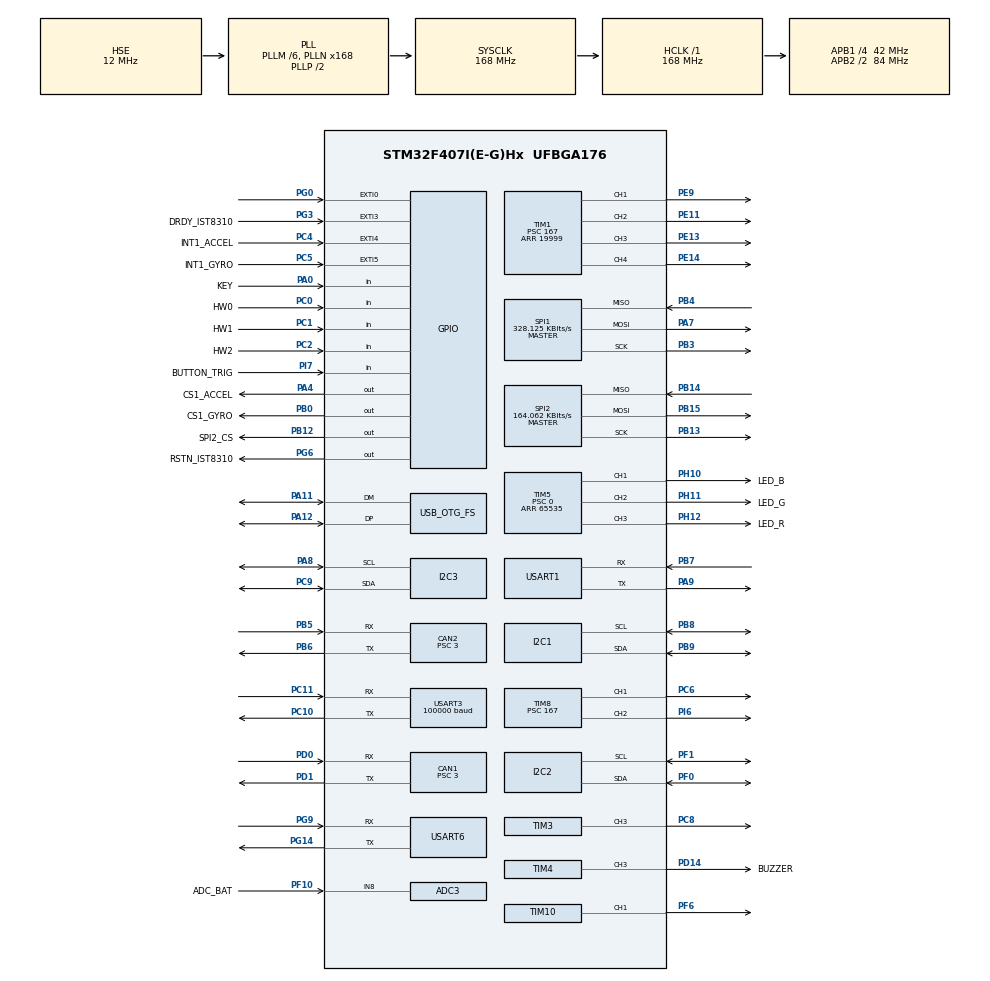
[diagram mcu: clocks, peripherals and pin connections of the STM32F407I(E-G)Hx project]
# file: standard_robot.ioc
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ADC1.Channel-0\#ChannelRegularConversion=ADC_CHANNEL_TEMPSENSOR
ADC1.ClockPrescaler=ADC_CLOCK_SYNC_PCLK_DIV6
ADC1.NbrOfConversionFlag=1
ADC1.Rank-0\#ChannelRegularConversion=1
ADC1.SamplingTime-0\#ChannelRegularConversion=ADC_SAMPLETIME_3CYCLES
ADC1.master=1
ADC3.Channel-0\#ChannelRegularConversion=ADC_CHANNEL_8
ADC3.ClockPrescaler=ADC_CLOCK_SYNC_PCLK_DIV6
ADC3.NbrOfConversionFlag=1
ADC3.Rank-0\#ChannelRegularConversion=1
ADC3.SamplingTime-0\#ChannelRegularConversion=ADC_SAMPLETIME_3CYCLES
CAN1.BS1=CAN_BS1_10TQ
CAN1.BS2=CAN_BS2_3TQ
CAN1.CalculateTimeQuantum=71.42857142857143
CAN1.Prescaler=3
CAN2.BS1=CAN_BS1_10TQ
CAN2.BS2=CAN_BS2_3TQ
CAN2.CalculateTimeQuantum=71.42857142857143
CAN2.Prescaler=3
Dma.I2C2_TX.2.Direction=DMA_MEMORY_TO_PERIPH
Dma.I2C2_TX.2.FIFOMode=DMA_FIFOMODE_DISABLE
Dma.I2C2_TX.2.Instance=DMA1_Stream7
Dma.I2C2_TX.2.MemDataAlignment=DMA_MDATAALIGN_BYTE
Dma.I2C2_TX.2.MemInc=DMA_MINC_ENABLE
Dma.I2C2_TX.2.Mode=DMA_NORMAL
Dma.I2C2_TX.2.PeriphDataAlignment=DMA_PDATAALIGN_BYTE
Dma.I2C2_TX.2.PeriphInc=DMA_PINC_DISABLE
Dma.I2C2_TX.2.Priority=DMA_PRIORITY_HIGH
Dma.Request0=SPI1_RX
Dma.Request1=SPI1_TX
Dma.Request2=I2C2_TX
Dma.Request3=USART3_RX
Dma.Request4=USART6_RX
Dma.Request5=USART6_TX
Dma.Request6=USART1_TX
Dma.SPI1_RX.0.Direction=DMA_PERIPH_TO_MEMORY
Dma.SPI1_RX.0.FIFOMode=DMA_FIFOMODE_DISABLE
Dma.SPI1_RX.0.Instance=DMA2_Stream2
Dma.SPI1_RX.0.MemDataAlignment=DMA_MDATAALIGN_BYTE
Dma.SPI1_RX.0.MemInc=DMA_MINC_ENABLE
Dma.SPI1_RX.0.Mode=DMA_NORMAL
Dma.SPI1_RX.0.PeriphDataAlignment=DMA_PDATAALIGN_BYTE
Dma.SPI1_RX.0.PeriphInc=DMA_PINC_DISABLE
Dma.SPI1_RX.0.Priority=DMA_PRIORITY_VERY_HIGH
Dma.SPI1_TX.1.Direction=DMA_MEMORY_TO_PERIPH
Dma.SPI1_TX.1.FIFOMode=DMA_FIFOMODE_DISABLE
Dma.SPI1_TX.1.Instance=DMA2_Stream3
Dma.SPI1_TX.1.MemDataAlignment=DMA_MDATAALIGN_BYTE
Dma.SPI1_TX.1.MemInc=DMA_MINC_ENABLE
Dma.SPI1_TX.1.Mode=DMA_NORMAL
Dma.SPI1_TX.1.PeriphDataAlignment=DMA_PDATAALIGN_BYTE
Dma.SPI1_TX.1.PeriphInc=DMA_PINC_DISABLE
Dma.SPI1_TX.1.Priority=DMA_PRIORITY_HIGH
Dma.USART1_TX.6.Direction=DMA_MEMORY_TO_PERIPH
Dma.USART1_TX.6.FIFOMode=DMA_FIFOMODE_DISABLE
Dma.USART1_TX.6.Instance=DMA2_Stream7
Dma.USART1_TX.6.MemDataAlignment=DMA_MDATAALIGN_BYTE
Dma.USART1_TX.6.MemInc=DMA_MINC_ENABLE
Dma.USART1_TX.6.Mode=DMA_NORMAL
Dma.USART1_TX.6.PeriphDataAlignment=DMA_PDATAALIGN_BYTE
Dma.USART1_TX.6.PeriphInc=DMA_PINC_DISABLE
Dma.USART1_TX.6.Priority=DMA_PRIORITY_MEDIUM
Dma.USART3_RX.3.Direction=DMA_PERIPH_TO_MEMORY
Dma.USART3_RX.3.FIFOMode=DMA_FIFOMODE_DISABLE
Dma.USART3_RX.3.Instance=DMA1_Stream1
Dma.USART3_RX.3.MemDataAlignment=DMA_MDATAALIGN_BYTE
Dma.USART3_RX.3.MemInc=DMA_MINC_ENABLE
Dma.USART3_RX.3.Mode=DMA_NORMAL
Dma.USART3_RX.3.PeriphDataAlignment=DMA_PDATAALIGN_BYTE
Dma.USART3_RX.3.PeriphInc=DMA_PINC_DISABLE
Dma.USART3_RX.3.Priority=DMA_PRIORITY_HIGH
Dma.USART6_RX.4.Direction=DMA_PERIPH_TO_MEMORY
Dma.USART6_RX.4.FIFOMode=DMA_FIFOMODE_DISABLE
Dma.USART6_RX.4.Instance=DMA2_Stream1
Dma.USART6_RX.4.MemDataAlignment=DMA_MDATAALIGN_BYTE
Dma.USART6_RX.4.MemInc=DMA_MINC_ENABLE
Dma.USART6_RX.4.Mode=DMA_NORMAL
Dma.USART6_RX.4.PeriphDataAlignment=DMA_PDATAALIGN_BYTE
Dma.USART6_RX.4.PeriphInc=DMA_PINC_DISABLE
Dma.USART6_RX.4.Priority=DMA_PRIORITY_HIGH
Dma.USART6_TX.5.Direction=DMA_MEMORY_TO_PERIPH
Dma.USART6_TX.5.FIFOMode=DMA_FIFOMODE_DISABLE
Dma.USART6_TX.5.Instance=DMA2_Stream6
Dma.USART6_TX.5.MemDataAlignment=DMA_MDATAALIGN_BYTE
Dma.USART6_TX.5.MemInc=DMA_MINC_ENABLE
Dma.USART6_TX.5.Mode=DMA_NORMAL
Dma.USART6_TX.5.PeriphDataAlignment=DMA_PDATAALIGN_BYTE
Dma.USART6_TX.5.PeriphInc=DMA_PINC_DISABLE
Dma.USART6_TX.5.Priority=DMA_PRIORITY_MEDIUM
FREERTOS.INCLUDE_eTaskGetState=1
FREERTOS.INCLUDE_pcTaskGetTaskName=1
FREERTOS.INCLUDE_uxTaskGetStackHighWaterMark=1
FREERTOS.INCLUDE_vTaskCleanUpResources=1
FREERTOS.INCLUDE_vTaskDelayUntil=1
FREERTOS.INCLUDE_xEventGroupSetBitFromISR=1
FREERTOS.INCLUDE_xQueueGetMutexHolder=1
FREERTOS.INCLUDE_xSemaphoreGetMutexHolder=1
FREERTOS.INCLUDE_xTaskAbortDelay=1
FREERTOS.INCLUDE_xTaskGetCurrentTaskHandle=1
FREERTOS.INCLUDE_xTaskGetHandle=1
FREERTOS.INCLUDE_xTimerPendFunctionCall=1
FREERTOS.Tasks01=test,24,128,test_task,As weak,NULL,Dynamic,NULL,NULL
FREERTOS.configTOTAL_HEAP_SIZE=24576
I2C1.I2C_Mode=I2C_Fast
I2C2.I2C_Mode=I2C_Fast
I2C3.I2C_Mode=I2C_Fast
Mcu.Family=STM32F4
Mcu.Name=STM32F407I(E-G)Hx
Mcu.Package=UFBGA176
NVIC.CAN1_RX0_IRQn=true\:6\:0\:true\:false\:true\:true\:true\:true\:true
NVIC.CAN2_RX0_IRQn=true\:6\:0\:true\:false\:true\:true\:true\:true\:true
NVIC.DMA1_Stream1_IRQn=true\:5\:0\:true\:false\:false\:true\:false\:false\:true
NVIC.DMA1_Stream7_IRQn=true\:5\:0\:true\:false\:false\:true\:false\:true\:true
NVIC.DMA2_Stream1_IRQn=true\:5\:0\:true\:false\:true\:true\:false\:true\:true
NVIC.DMA2_Stream2_IRQn=true\:5\:0\:true\:false\:false\:true\:false\:true\:true
NVIC.DMA2_Stream3_IRQn=true\:5\:0\:true\:false\:false\:true\:false\:true\:true
NVIC.DMA2_Stream6_IRQn=true\:5\:0\:true\:false\:true\:true\:false\:true\:true
NVIC.DMA2_Stream7_IRQn=true\:5\:0\:true\:false\:true\:true\:false\:true\:true
NVIC.EXTI0_IRQn=true\:6\:0\:true\:false\:true\:true\:true\:true\:true
NVIC.EXTI3_IRQn=true\:5\:0\:true\:false\:true\:true\:true\:true\:true
NVIC.EXTI4_IRQn=true\:5\:0\:true\:false\:true\:true\:true\:true\:true
NVIC.EXTI9_5_IRQn=true\:5\:0\:true\:false\:true\:true\:true\:true\:true
NVIC.OTG_FS_IRQn=true\:5\:0\:false\:false\:true\:true\:false\:true\:true
NVIC.PriorityGroup=NVIC_PRIORITYGROUP_4
NVIC.TIM2_IRQn=true\:5\:0\:false\:false\:true\:true\:true\:true\:true
NVIC.USART1_IRQn=true\:5\:0\:false\:false\:true\:true\:true\:true\:true
NVIC.USART3_IRQn=true\:4\:0\:true\:false\:false\:false\:true\:true\:true
NVIC.USART6_IRQn=true\:5\:0\:true\:false\:false\:true\:true\:true\:true
PA0-WKUP.GPIO_Label=KEY
PA0-WKUP.GPIO_PuPd=GPIO_PULLUP
PA0-WKUP.Signal=GPIO_Input
PA11.Mode=Device_Only
PA11.Signal=USB_OTG_FS_DM
PA12.Mode=Device_Only
PA12.Signal=USB_OTG_FS_DP
PA13.Mode=Serial_Wire
PA13.Signal=SYS_JTMS-SWDIO
PA14.Mode=Serial_Wire
PA14.Signal=SYS_JTCK-SWCLK
PA4.GPIO_Label=CS1_ACCEL
PA4.GPIO_PuPd=GPIO_PULLUP
PA4.GPIO_Speed=GPIO_SPEED_FREQ_HIGH
PA4.PinState=GPIO_PIN_SET
PA4.Signal=GPIO_Output
PA7.GPIO_PuPd=GPIO_PULLUP
PA7.Mode=Full_Duplex_Master
PA7.Signal=SPI1_MOSI
PA8.Mode=I2C
PA8.Signal=I2C3_SCL
PA9.Mode=Asynchronous
PA9.Signal=USART1_TX
PB0.GPIO_Label=CS1_GYRO
PB0.GPIO_PuPd=GPIO_PULLUP
PB0.GPIO_Speed=GPIO_SPEED_FREQ_HIGH
PB0.PinState=GPIO_PIN_SET
PB0.Signal=GPIO_Output
PB12.GPIO_Label=SPI2_CS
PB12.GPIO_PuPd=GPIO_PULLUP
PB12.GPIO_Speed=GPIO_SPEED_FREQ_MEDIUM
PB12.PinState=GPIO_PIN_SET
PB12.Signal=GPIO_Output
PB13.GPIO_PuPd=GPIO_PULLUP
PB13.Mode=Full_Duplex_Master
PB13.Signal=SPI2_SCK
PB14.GPIO_PuPd=GPIO_PULLUP
PB14.Mode=Full_Duplex_Master
PB14.Signal=SPI2_MISO
PB15.GPIO_PuPd=GPIO_PULLUP
PB15.Mode=Full_Duplex_Master
PB15.Signal=SPI2_MOSI
PB3.GPIO_PuPd=GPIO_PULLUP
PB3.Mode=Full_Duplex_Master
PB3.Signal=SPI1_SCK
PB4.GPIO_PuPd=GPIO_PULLUP
PB4.Mode=Full_Duplex_Master
PB4.Signal=SPI1_MISO
PB5.Mode=Slave
PB5.Signal=CAN2_RX
PB6.Mode=Slave
PB6.Signal=CAN2_TX
PB7.Mode=Asynchronous
PB7.Signal=USART1_RX
PB8.Mode=I2C
PB8.Signal=I2C1_SCL
PB9.Mode=I2C
PB9.Signal=I2C1_SDA
PC0.GPIO_Label=HW0
PC0.Signal=GPIO_Input
PC1.GPIO_Label=HW1
PC1.Signal=GPIO_Input
PC10.Mode=Asynchronous
PC10.Signal=USART3_TX
PC11.Mode=Asynchronous
PC11.Signal=USART3_RX
PC2.GPIO_Label=HW2
PC2.Signal=GPIO_Input
PC4.GPIO_Label=INT1_ACCEL
PC4.GPIO_ModeDefaultEXTI=GPIO_MODE_IT_FALLING
PC4.GPIO_PuPd=GPIO_PULLUP
PC4.Signal=GPXTI4
PC5.GPIO_Label=INT1_GYRO
PC5.GPIO_ModeDefaultEXTI=GPIO_MODE_IT_FALLING
PC5.GPIO_PuPd=GPIO_PULLUP
PC5.Signal=GPXTI5
PC6.GPIO_PuPd=GPIO_PULLUP
PC6.GPIO_Speed=GPIO_SPEED_FREQ_HIGH
PC6.Signal=S_TIM8_CH1
PC8.GPIO_PuPd=GPIO_PULLUP
PC8.GPIO_Speed=GPIO_SPEED_FREQ_HIGH
PC8.Signal=S_TIM3_CH3
PC9.Mode=I2C
PC9.Signal=I2C3_SDA
PD0.Mode=Master
PD0.Signal=CAN1_RX
PD1.Mode=Master
PD1.Signal=CAN1_TX
PD14.GPIO_Label=BUZZER
PD14.GPIO_PuPd=GPIO_PULLUP
PD14.GPIO_Speed=GPIO_SPEED_FREQ_VERY_HIGH
PD14.Signal=S_TIM4_CH3
PE11.GPIO_PuPd=GPIO_PULLUP
PE11.GPIO_Speed=GPIO_SPEED_FREQ_HIGH
PE11.Signal=S_TIM1_CH2
PE13.GPIO_PuPd=GPIO_PULLUP
PE13.GPIO_Speed=GPIO_SPEED_FREQ_HIGH
PE13.Signal=S_TIM1_CH3
PE14.GPIO_PuPd=GPIO_PULLUP
PE14.GPIO_Speed=GPIO_SPEED_FREQ_HIGH
PE14.Signal=S_TIM1_CH4
PE9.GPIO_PuPd=GPIO_PULLUP
PE9.GPIO_Speed=GPIO_SPEED_FREQ_HIGH
PE9.Signal=S_TIM1_CH1
PF0.Mode=I2C
PF0.Signal=I2C2_SDA
PF1.Mode=I2C
PF1.Signal=I2C2_SCL
PF10.GPIO_Label=ADC_BAT
PF10.Mode=IN8
PF10.Signal=ADC3_IN8
PF6.GPIO_PuPd=GPIO_PULLUP
PF6.GPIO_Speed=GPIO_SPEED_FREQ_HIGH
PF6.Signal=S_TIM10_CH1
PG0.GPIO_ModeDefaultEXTI=GPIO_MODE_IT_FALLING
PG0.GPIO_PuPd=GPIO_PULLUP
PG0.Signal=GPXTI0
PG14.Mode=Asynchronous
PG14.Signal=USART6_TX
PG3.GPIO_Label=DRDY_IST8310
PG3.GPIO_ModeDefaultEXTI=GPIO_MODE_IT_FALLING
PG3.GPIO_PuPd=GPIO_PULLUP
PG3.Signal=GPXTI3
PG6.GPIO_Label=RSTN_IST8310
PG6.GPIO_PuPd=GPIO_PULLUP
PG6.GPIO_Speed=GPIO_SPEED_FREQ_MEDIUM
PG6.PinState=GPIO_PIN_SET
PG6.Signal=GPIO_Output
PG9.Mode=Asynchronous
PG9.Signal=USART6_RX
PH0-OSC_IN.Mode=HSE-External-Oscillator
PH0-OSC_IN.Signal=RCC_OSC_IN
PH1-OSC_OUT.Mode=HSE-External-Oscillator
PH1-OSC_OUT.Signal=RCC_OSC_OUT
PH10.GPIO_Label=LED_B
PH10.GPIO_PuPd=GPIO_PULLUP
PH10.GPIO_Speed=GPIO_SPEED_FREQ_HIGH
PH10.Signal=S_TIM5_CH1
PH11.GPIO_Label=LED_G
PH11.GPIO_PuPd=GPIO_PULLUP
PH11.GPIO_Speed=GPIO_SPEED_FREQ_HIGH
PH11.Signal=S_TIM5_CH2
PH12.GPIO_Label=LED_R
PH12.GPIO_PuPd=GPIO_PULLUP
PH12.GPIO_Speed=GPIO_SPEED_FREQ_HIGH
PH12.Signal=S_TIM5_CH3
PI6.GPIO_PuPd=GPIO_PULLUP
PI6.GPIO_Speed=GPIO_SPEED_FREQ_HIGH
PI6.Signal=S_TIM8_CH2
PI7.GPIO_Label=BUTTON_TRIG
PI7.GPIO_PuPd=GPIO_PULLUP
PI7.Signal=GPIO_Input
ProjectManager.HeapSize=0x2000
ProjectManager.StackSize=0x2000
ProjectManager.TargetToolchain=MDK-ARM V5
RCC.48MHZClocksFreq_Value=48000000
RCC.AHBFreq_Value=168000000
RCC.APB1CLKDivider=RCC_HCLK_DIV4
RCC.APB1Freq_Value=42000000
RCC.APB1TimFreq_Value=84000000
RCC.APB2CLKDivider=RCC_HCLK_DIV2
RCC.APB2Freq_Value=84000000
RCC.APB2TimFreq_Value=168000000
RCC.CortexFreq_Value=168000000
RCC.HCLKFreq_Value=168000000
RCC.HSE_VALUE=12000000
RCC.HSI_VALUE=16000000
RCC.LSE_VALUE=32768
RCC.PLLM=6
RCC.PLLN=168
RCC.PLLQ=7
RCC.RCC_RTC_Clock_SourceVirtual=RCC_RTCCLKSOURCE_HSE_DIV30
RCC.RCC_RTC_Clock_Source_FROM_HSE=RCC_RTCCLKSOURCE_HSE_DIV30
RCC.SYSCLKFreq_VALUE=168000000
RCC.SYSCLKSource=RCC_SYSCLKSOURCE_PLLCLK
RCC.VCOOutputFreq_Value=336000000
RTC.AsynchPrediv=124
RTC.SynchPrediv=3199
SH.S_TIM10_CH1.0=TIM10_CH1,PWM Generation1 CH1
SH.S_TIM1_CH1.0=TIM1_CH1,PWM Generation1 CH1
SH.S_TIM1_CH2.0=TIM1_CH2,PWM Generation2 CH2
SH.S_TIM1_CH3.0=TIM1_CH3,PWM Generation3 CH3
SH.S_TIM1_CH4.0=TIM1_CH4,PWM Generation4 CH4
SH.S_TIM3_CH3.0=TIM3_CH3,PWM Generation3 CH3
SH.S_TIM4_CH3.0=TIM4_CH3,PWM Generation3 CH3
SH.S_TIM5_CH1.0=TIM5_CH1,PWM Generation1 CH1
SH.S_TIM5_CH2.0=TIM5_CH2,PWM Generation2 CH2
SH.S_TIM5_CH3.0=TIM5_CH3,PWM Generation3 CH3
SH.S_TIM8_CH1.0=TIM8_CH1,PWM Generation1 CH1
SH.S_TIM8_CH2.0=TIM8_CH2,PWM Generation2 CH2
SPI1.BaudRatePrescaler=SPI_BAUDRATEPRESCALER_256
SPI1.CLKPhase=SPI_PHASE_2EDGE
SPI1.CLKPolarity=SPI_POLARITY_HIGH
SPI1.CalculateBaudRate=328.125 KBits/s
SPI1.Direction=SPI_DIRECTION_2LINES
SPI1.Mode=SPI_MODE_MASTER
SPI1.VirtualType=VM_MASTER
SPI2.BaudRatePrescaler=SPI_BAUDRATEPRESCALER_256
SPI2.CLKPhase=SPI_PHASE_2EDGE
SPI2.CLKPolarity=SPI_POLARITY_HIGH
SPI2.CalculateBaudRate=164.062 KBits/s
SPI2.Direction=SPI_DIRECTION_2LINES
SPI2.Mode=SPI_MODE_MASTER
SPI2.VirtualType=VM_MASTER
TIM1.Channel-PWM\ Generation1\ CH1=TIM_CHANNEL_1
TIM1.Channel-PWM\ Generation2\ CH2=TIM_CHANNEL_2
TIM1.Channel-PWM\ Generation3\ CH3=TIM_CHANNEL_3
TIM1.Channel-PWM\ Generation4\ CH4=TIM_CHANNEL_4
TIM1.Period=19999
TIM1.Prescaler=167
TIM1.Pulse-PWM\ Generation1\ CH1=1000
TIM1.Pulse-PWM\ Generation2\ CH2=1000
TIM1.Pulse-PWM\ Generation3\ CH3=1000
TIM1.Pulse-PWM\ Generation4\ CH4=1000
TIM10.Channel=TIM_CHANNEL_1
TIM10.Period=4999
TIM2.Period=999
TIM2.Prescaler=167
TIM3.Channel-PWM\ Generation3\ CH3=TIM_CHANNEL_3
TIM3.Period=8399
TIM4.Channel-PWM\ Generation3\ CH3=TIM_CHANNEL_3
TIM4.Period=65535
TIM4.Prescaler=167
TIM5.Channel-PWM\ Generation1\ CH1=TIM_CHANNEL_1
TIM5.Channel-PWM\ Generation2\ CH2=TIM_CHANNEL_2
TIM5.Channel-PWM\ Generation3\ CH3=TIM_CHANNEL_3
TIM5.Period=65535
TIM5.Prescaler=0
TIM8.Channel-PWM\ Generation1\ CH1=TIM_CHANNEL_1
TIM8.Channel-PWM\ Generation2\ CH2=TIM_CHANNEL_2
TIM8.Period=19999
TIM8.Prescaler=167
TIM8.Pulse-PWM\ Generation1\ CH1=1000
TIM8.Pulse-PWM\ Generation2\ CH2=1000
USART1.VirtualMode=VM_ASYNC
USART3.BaudRate=100000
USART3.Parity=PARITY_EVEN
USART3.VirtualMode=VM_ASYNC
USART6.VirtualMode=VM_ASYNC
USB_DEVICE.CLASS_NAME_FS=CDC
USB_DEVICE.VirtualMode-CDC_FS=Cdc
USB_DEVICE.VirtualModeFS=Cdc_FS
USB_OTG_FS.VirtualMode=Device_Only
VP_ADC1_TempSens_Input.Mode=IN-TempSens
VP_ADC1_Vref_Input.Mode=IN-Vrefint
VP_CRC_VS_CRC.Mode=CRC_Activate
VP_FREERTOS_VS_CMSIS_V1.Mode=CMSIS_V1
VP_RNG_VS_RNG.Mode=RNG_Activate
VP_RTC_VS_RTC_Activate.Mode=RTC_Enabled
VP_TIM10_VS_ClockSourceINT.Mode=Enable_Timer
VP_TIM1_VS_ClockSourceINT.Mode=Internal
VP_TIM2_VS_ClockSourceINT.Mode=Internal
VP_TIM3_VS_ClockSourceINT.Mode=Internal
VP_TIM4_VS_ClockSourceINT.Mode=Internal
VP_TIM5_VS_ClockSourceINT.Mode=Internal
VP_TIM8_VS_ClockSourceINT.Mode=Internal
VP_USB_DEVICE_VS_USB_DEVICE_CDC_FS.Mode=CDC_FS
board=custom

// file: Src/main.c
/* USER CODE BEGIN Header */
/**
  ******************************************************************************
  * @file           : main.c
  * @brief          : Main program body
  ******************************************************************************
  * @attention
  *
  * <h2><center>&copy; Copyright (c) 2019 STMicroelectronics.
  * All rights reserved.</center></h2>
  *
  * This software component is licensed by ST under Ultimate Liberty license
  * SLA0044, the "License"; You may not use this file except in compliance with
  * the License. You may obtain a copy of the License at:
  *                             www.st.com/SLA0044
  *
  ******************************************************************************
  */
/* USER CODE END Header */

#include "main.h"
#include "cmsis_os.h"
#include "adc.h"
#include "can.h"
#include "crc.h"
#include "dma.h"
#include "i2c.h"
#include "rng.h"
#include "rtc.h"
#include "spi.h"
#include "tim.h"
#include "usart.h"
#include "usb_device.h"
#include "gpio.h"

/* USER CODE BEGIN Includes */

/*
                   _ooOoo_
                  o8888888o
                  88" . "88
                  (| -_- |)
                  O\  =  /O
               ____/`---'\____
             .'  \\|     |//  `.
            /  \\|||  :  |||//  \
           /  _||||| -:- |||||-  \
           |   | \\\  -  /// |   |
           | \_|  ''\---/''  |   |
           \  .-\__  `-`  ___/-. /
         ___`. .'  /--.--\  `. . __
      ."" '<  `.___\_<|>_/___.'  >'"".
     | | :  `- \`.;`\ _ /`;.`/ - ` : | |
     \  \ `-.   \_ __\ /__ _/   .-` /  /
======`-.____`-.___\_____/___.-`____.-'======
                   `=---='
^^^^^^^^^^^^^^^^^^^^^^^^^^^^^^^^^^^^^^^^^^^^^
            佛祖保佑       永无ERROR
*/

////////////////////////////////////////////////////////////////////
//                          _ooOoo_                               //
//                         o8888888o                              //
//                         88" . "88                              //
//                         (| -_- |)                              //
//                         O\  =  /O                              //
//                      ____/`---'\____                           //
//                    .'  \\|     |//  `.                         //
//                   /  \\|||  :  |||//  \                        //
//                  /  _||||| -:- |||||-  \                       //
//                  |   | \\\  -  /// |   |                       //
//                  | \_|  ''\---/''  |   |                       //
//                  \  .-\__  `-`  ___/-. /                       //
//                ___`. .'  /--.--\  `. . ___                     //
//              ."" '<  `.___\_<|>_/___.'  >'"".                  //
//            | | :  `- \`.;`\ _ /`;.`/ - ` : | |                 //
//            \  \ `-.   \_ __\ /__ _/   .-` /  /                 //
//      ========`-.____`-.___\_____/___.-`____.-'========         //
//                           `=---='                              //
//      ^^^^^^^^^^^^^^^^^^^^^^^^^^^^^^^^^^^^^^^^^^^^^^^^^^        //
//         佛祖保佑       永无ERROR     永不修改                       //
////////////////////////////////////////////////////////////////////

#include "bsp_can.h"
#include "bsp_delay.h"
#include "remote_control.h"
#include "detect_task.h"
#include "gimbal_task.h"
#include "INS_task.h"
#include "led_flow_task.h"
#include "bsp_dwt.h"

#include "CAN_receive.h"
/* USER CODE END Includes */

/* USER CODE BEGIN PV */

//void  HAL_TIM_PeriodElapsedCallback(TIM_HandleTypeDef *htim)
//{
//	CAN_read_lkmotor_state();
//}

/* USER CODE END PV */

void SystemClock_Config(void);
void MX_FREERTOS_Init(void);

int main(void)
{

  /* MCU Configuration--------------------------------------------------------*/

  /* Reset of all peripherals, Initializes the Flash interface and the Systick. */

  	HAL_Init();

  /* Configure the system clock */
  SystemClock_Config();

  /* Initialize all configured peripherals */
  MX_GPIO_Init();
  MX_DMA_Init();
  MX_ADC1_Init();
  MX_ADC3_Init();
  MX_CAN1_Init();
  MX_CAN2_Init();
  MX_I2C1_Init();
  MX_SPI1_Init();
  MX_TIM4_Init();
  MX_TIM5_Init();
  MX_USART3_UART_Init();
  MX_TIM8_Init();
  MX_CRC_Init();
  MX_RNG_Init();
  MX_I2C2_Init();
  MX_I2C3_Init();
  MX_RTC_Init();
  MX_SPI2_Init();
  MX_TIM1_Init();
  MX_TIM3_Init();
  MX_TIM10_Init();
  MX_USART1_UART_Init();
  MX_USART6_UART_Init();
  MX_TIM2_Init();
  MX_USB_DEVICE_Init();       //虚拟串口初始化
  /* USER CODE BEGIN 2 */

  HAL_TIM_Base_Start_IT(&htim2);

  can_filter_init();
  delay_init();
  remote_control_init();
  DWT_Init(168);
  while (BMI088_init(&hspi1, 1) != BMI088_NO_ERROR);
  INS_Init();
  /* USER CODE END 2 */

  /* Call init function for freertos objects (in freertos.c) */
  MX_FREERTOS_Init();

  /* Start scheduler */
  osKernelStart();

  /* We should never get here as control is now taken by the scheduler */

  /* Infinite loop */
  while (1)
  {

  }
}

void SystemClock_Config(void)
{
  RCC_OscInitTypeDef RCC_OscInitStruct = {0};
  RCC_ClkInitTypeDef RCC_ClkInitStruct = {0};
  RCC_PeriphCLKInitTypeDef PeriphClkInitStruct = {0};

  /** Configure the main internal regulator output voltage
   */
  __HAL_RCC_PWR_CLK_ENABLE();
  __HAL_PWR_VOLTAGESCALING_CONFIG(PWR_REGULATOR_VOLTAGE_SCALE1);
  /** Initializes the CPU, AHB and APB busses clocks
   */
  RCC_OscInitStruct.OscillatorType = RCC_OSCILLATORTYPE_HSE;
  RCC_OscInitStruct.HSEState = RCC_HSE_ON;
  RCC_OscInitStruct.PLL.PLLState = RCC_PLL_ON;
  RCC_OscInitStruct.PLL.PLLSource = RCC_PLLSOURCE_HSE;
  RCC_OscInitStruct.PLL.PLLM = 6;
  RCC_OscInitStruct.PLL.PLLN = 168;
  RCC_OscInitStruct.PLL.PLLP = RCC_PLLP_DIV2;
  RCC_OscInitStruct.PLL.PLLQ = 7;
  if (HAL_RCC_OscConfig(&RCC_OscInitStruct) != HAL_OK)
  {
    Error_Handler();
  }
  /** Initializes the CPU, AHB and APB busses clocks
   */
  RCC_ClkInitStruct.ClockType = RCC_CLOCKTYPE_HCLK | RCC_CLOCKTYPE_SYSCLK | RCC_CLOCKTYPE_PCLK1 | RCC_CLOCKTYPE_PCLK2;
  RCC_ClkInitStruct.SYSCLKSource = RCC_SYSCLKSOURCE_PLLCLK;
  RCC_ClkInitStruct.AHBCLKDivider = RCC_SYSCLK_DIV1;
  RCC_ClkInitStruct.APB1CLKDivider = RCC_HCLK_DIV4;
  RCC_ClkInitStruct.APB2CLKDivider = RCC_HCLK_DIV2;

  if (HAL_RCC_ClockConfig(&RCC_ClkInitStruct, FLASH_LATENCY_5) != HAL_OK)
  {
    Error_Handler();
  }
  PeriphClkInitStruct.PeriphClockSelection = RCC_PERIPHCLK_RTC;
  PeriphClkInitStruct.RTCClockSelection = RCC_RTCCLKSOURCE_HSE_DIV30;
  if (HAL_RCCEx_PeriphCLKConfig(&PeriphClkInitStruct) != HAL_OK)
  {
    Error_Handler();
  }
}

void Error_Handler(void)
{
}

/************************ (C) COPYRIGHT STMicroelectronics *****END OF FILE****/

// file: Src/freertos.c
/* USER CODE BEGIN Header */
/**
  ******************************************************************************
  * File Name          : freertos.c
  * Description        : Code for freertos applications
  ******************************************************************************
  * @attention
  *
  * <h2><center>&copy; Copyright (c) 2019 STMicroelectronics.
  * All rights reserved.</center></h2>
  *
  * This software component is licensed by ST under Ultimate Liberty license
  * SLA0044, the "License"; You may not use this file except in compliance with
  * the License. You may obtain a copy of the License at:
  *                             www.st.com/SLA0044
  *
  ******************************************************************************
  */
/* USER CODE END Header */

#include "FreeRTOS.h"
#include "task.h"
#include "main.h"
#include "cmsis_os.h"

/* USER CODE BEGIN Includes */
#include "calibrate_task.h"
#include "detect_task.h"
#include "gimbal_task.h"
#include "INS_task.h"
#include "led_flow_task.h"
#include "CAN_task.h"
#include "referee_usart_task.h"
#include "Self_aim.h"

/* USER CODE END Includes */

/* USER CODE BEGIN PTD */
osThreadId calibrate_tast_handle;
osThreadId detect_handle;
osThreadId gimbalTaskHandle;
osThreadId imuTaskHandle;
osThreadId led_RGB_flow_handle;
osThreadId can_task_handle;
osThreadId Self_aim_task_handle;
osThreadId referee_usart_task_handle;

/* USER CODE END PTD */

osThreadId testHandle;

/* USER CODE BEGIN FunctionPrototypes */
extern void ins_task(void const * argument);
/* USER CODE END FunctionPrototypes */

void test_task(void const * argument);

extern void MX_USB_DEVICE_Init(void);
void MX_FREERTOS_Init(void); /* (MISRA C 2004 rule 8.1) */

/* GetIdleTaskMemory prototype (linked to static allocation support) */
void vApplicationGetIdleTaskMemory( StaticTask_t **ppxIdleTaskTCBBuffer, StackType_t **ppxIdleTaskStackBuffer, uint32_t *pulIdleTaskStackSize );

/* GetTimerTaskMemory prototype (linked to static allocation support) */
void vApplicationGetTimerTaskMemory( StaticTask_t **ppxTimerTaskTCBBuffer, StackType_t **ppxTimerTaskStackBuffer, uint32_t *pulTimerTaskStackSize );

/* USER CODE BEGIN GET_IDLE_TASK_MEMORY */
static StaticTask_t xIdleTaskTCBBuffer;
static StackType_t xIdleStack[configMINIMAL_STACK_SIZE];

void vApplicationGetIdleTaskMemory( StaticTask_t **ppxIdleTaskTCBBuffer, StackType_t **ppxIdleTaskStackBuffer, uint32_t *pulIdleTaskStackSize )
{
  *ppxIdleTaskTCBBuffer = &xIdleTaskTCBBuffer;
  *ppxIdleTaskStackBuffer = &xIdleStack[0];
  *pulIdleTaskStackSize = configMINIMAL_STACK_SIZE;
  /* place for user code */
}
/* USER CODE END GET_IDLE_TASK_MEMORY */

/* USER CODE BEGIN GET_TIMER_TASK_MEMORY */
static StaticTask_t xTimerTaskTCBBuffer;
static StackType_t xTimerStack[configTIMER_TASK_STACK_DEPTH];

void vApplicationGetTimerTaskMemory( StaticTask_t **ppxTimerTaskTCBBuffer, StackType_t **ppxTimerTaskStackBuffer, uint32_t *pulTimerTaskStackSize )
{
  *ppxTimerTaskTCBBuffer = &xTimerTaskTCBBuffer;
  *ppxTimerTaskStackBuffer = &xTimerStack[0];
  *pulTimerTaskStackSize = configTIMER_TASK_STACK_DEPTH;
  /* place for user code */
}
/* USER CODE END GET_TIMER_TASK_MEMORY */

void MX_FREERTOS_Init(void) {

  /* Create the thread(s) */
  /* definition and creation of test */
  osThreadDef(test, test_task, osPriorityNormal, 0, 128);
  testHandle = osThreadCreate(osThread(test), NULL);

  /* USER CODE BEGIN RTOS_THREADS */
  /* add threads, ... */
    osThreadDef(cali, calibrate_task, osPriorityNormal, 0, 512);
    calibrate_tast_handle = osThreadCreate(osThread(cali), NULL);

    osThreadDef(DETECT, detect_task, osPriorityNormal, 0, 256);
    detect_handle = osThreadCreate(osThread(DETECT), NULL);

    osThreadDef(gimbalTask, gimbal_task, osPriorityHigh, 0, 512);
    gimbalTaskHandle = osThreadCreate(osThread(gimbalTask), NULL);

    osThreadDef(imuTask, ins_task, osPriorityRealtime, 0, 1024);
    imuTaskHandle = osThreadCreate(osThread(imuTask), NULL);

    osThreadDef(led, led_RGB_flow_task, osPriorityNormal, 0, 256);
    led_RGB_flow_handle = osThreadCreate(osThread(led), NULL);

	  osThreadDef(CAN_task, can_task, osPriorityNormal, 0, 256);
    can_task_handle = osThreadCreate(osThread(CAN_task), NULL);

	  osThreadDef(SELF_AIM_task, Self_aim_task, osPriorityNormal, 0, 256);
    can_task_handle = osThreadCreate(osThread(SELF_AIM_task), NULL);

	  // osThreadDef(REFEREE_UART_TASK, referee_usart_task, osPriorityNormal, 0, 256);
    // can_task_handle = osThreadCreate(osThread(REFEREE_UART_TASK), NULL);

  /* USER CODE END RTOS_THREADS */

}

__weak void test_task(void const * argument)
{
  /* init code for USB_DEVICE */
  MX_USB_DEVICE_Init();

  for(;;)
  {
    osDelay(1);
  }
}

/* USER CODE BEGIN Application */
void ins_task(void const * argument)
{
  /* USER CODE BEGIN rc_task */
  /* Infinite loop */
  for(;;)
  {
	INS_Task();

    osDelay(1);
  }
 }
/* USER CODE END Application */

/************************ (C) COPYRIGHT STMicroelectronics *****END OF FILE****/
